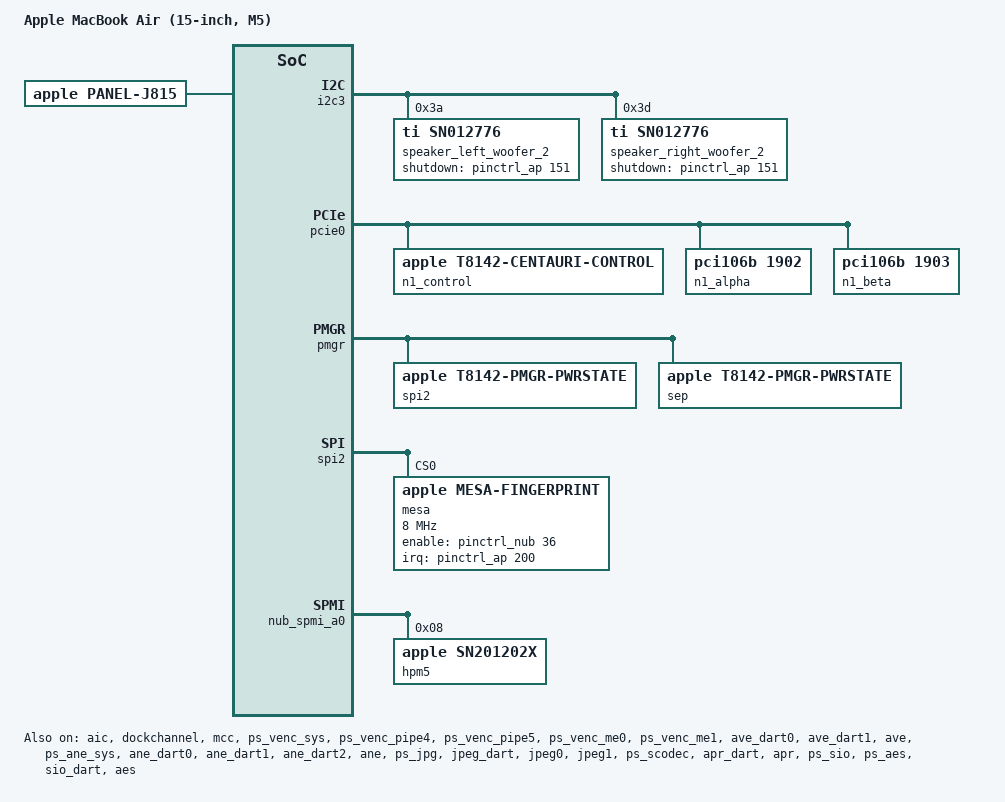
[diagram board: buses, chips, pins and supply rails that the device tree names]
// SPDX-License-Identifier: GPL-2.0+ OR MIT
/*
 * Apple MacBook Air (15-inch, M5), J815.
 *
 * J815 is the 15-inch sibling of J813 on the same T8142 die. It uses the
 * J813 board fragments and overrides what the J815 ADT shows to be
 * different:
 *
 *  - /chosen board-id 0x26 (J813: 0x24)
 *  - 15.3" 2880x1864 panel (2880x1800 below the notch), 326 x 211 mm
 *  - six SN012776 speaker amplifiers on i2c3 (0x38-0x3d: two tweeters and
 *    four force-cancelling woofers); J813 has four
 *  - ISP sensor-type 0x72 (J813: 0x71)
 *  - MTP hid-merge-personality C1FD3,3 (J813: C1FD1,4)
 *
 * The rest of the J813/J815 ADT difference is firmware selection (AOP
 * j815aop, acoustic-id 0x2b), ADMAC speaker channel counts and higher
 * CLPC package power limits.
 */
/dts-v1/;

#include "t8142.dtsi"
#include <dt-bindings/thermal/thermal.h>

/ {
	compatible = "apple,j815", "apple,t8142", "apple,arm-platform";
	model = "Apple MacBook Air (15-inch, M5)";
	chassis-type = "laptop";

	aliases {
		serial0 = &dockchannel;
		serial1 = &serial0;
	};

	chosen {
		#address-cells = <2>;
		#size-cells = <2>;
		ranges;

		stdout-path = "serial0:1500000n8";

		framebuffer0: framebuffer@0 {
			compatible = "apple,simple-framebuffer", "simple-framebuffer";
			reg = <0 0 0 0>; /* Filled by the loader. */
			status = "disabled";
		};
	};

	/*
	 * The J815 has no fan. One zone on the hottest SoC die reading (the 26
	 * apple,soc-die-keys below) slows the CPU clusters as the die heats,
	 * with the power allocator and the clusters' energy model.
	 *
	 * Sustainable power is an estimate to be tuned by a soak: the J815
	 * ADT's clpc pkg-sustainable-power-target is 12.5 W (0xc8000, 16.16),
	 * the J700's 5.5 W, where macOS holds the J700 CPUs at 4.1-4.3 W
	 * (about 76%, the J700 zones' 4200). The same share of 12.5 W gives
	 * the 9000 mW here. The control point is held below the 105 C the
	 * fanless J700 runs at, until a J815 soak under macOS gives its own
	 * value; the PMP and SMC still enforce the hardware limits.
	 */
	thermal-zones {
		soc-die-thermal {
			polling-delay-passive = <500>;
			polling-delay = <1000>;
			thermal-sensors = <&smc_hwmon 1000>;
			sustainable-power = <9000>;

			trips {
				soc_die_alert: trip-alert {
					temperature = <60000>;
					hysteresis = <2000>;
					type = "passive";
				};

				soc_die_control: trip-control {
					temperature = <100000>;
					hysteresis = <2000>;
					type = "passive";
				};

				trip-critical {
					temperature = <115000>;
					hysteresis = <0>;
					type = "critical";
				};
			};

			cooling-maps {
				map-p {
					trip = <&soc_die_control>;
					cooling-device =
						<&cpu6 THERMAL_NO_LIMIT THERMAL_NO_LIMIT>,
						<&cpu7 THERMAL_NO_LIMIT THERMAL_NO_LIMIT>,
						<&cpu8 THERMAL_NO_LIMIT THERMAL_NO_LIMIT>,
						<&cpu9 THERMAL_NO_LIMIT THERMAL_NO_LIMIT>;
					contribution = <1024>;
				};

				map-e {
					trip = <&soc_die_control>;
					cooling-device =
						<&cpu0 THERMAL_NO_LIMIT THERMAL_NO_LIMIT>,
						<&cpu1 THERMAL_NO_LIMIT THERMAL_NO_LIMIT>,
						<&cpu2 THERMAL_NO_LIMIT THERMAL_NO_LIMIT>,
						<&cpu3 THERMAL_NO_LIMIT THERMAL_NO_LIMIT>,
						<&cpu4 THERMAL_NO_LIMIT THERMAL_NO_LIMIT>,
						<&cpu5 THERMAL_NO_LIMIT THERMAL_NO_LIMIT>;
					contribution = <3072>;
				};
			};
		};
	};
};

&cpu0 {
	#cooling-cells = <2>;
	operating-points-v2 = <&ecluster_opp>;
	performance-domains = <&cpufreq_e>;
	status = "okay";
};

&cpu1 {
	#cooling-cells = <2>;
	operating-points-v2 = <&ecluster_opp>;
	performance-domains = <&cpufreq_e>;
	status = "okay";
};

&cpu2 {
	#cooling-cells = <2>;
	operating-points-v2 = <&ecluster_opp>;
	performance-domains = <&cpufreq_e>;
	status = "okay";
};

&cpu3 {
	#cooling-cells = <2>;
	operating-points-v2 = <&ecluster_opp>;
	performance-domains = <&cpufreq_e>;
	status = "okay";
};

&cpu4 {
	#cooling-cells = <2>;
	operating-points-v2 = <&ecluster_opp>;
	performance-domains = <&cpufreq_e>;
	status = "okay";
};

&cpu5 {
	#cooling-cells = <2>;
	operating-points-v2 = <&ecluster_opp>;
	performance-domains = <&cpufreq_e>;
	status = "okay";
};

&cpu6 {
	#cooling-cells = <2>;
	operating-points-v2 = <&pcluster_opp>;
	performance-domains = <&cpufreq_p>;
	status = "okay";
};

&cpu7 {
	#cooling-cells = <2>;
	operating-points-v2 = <&pcluster_opp>;
	performance-domains = <&cpufreq_p>;
	status = "okay";
};

&cpu8 {
	#cooling-cells = <2>;
	operating-points-v2 = <&pcluster_opp>;
	performance-domains = <&cpufreq_p>;
	status = "okay";
};

&cpu9 {
	#cooling-cells = <2>;
	operating-points-v2 = <&pcluster_opp>;
	performance-domains = <&cpufreq_p>;
	status = "okay";
};

&{/timer} {
	status = "okay";
};

&aic {
	status = "okay";
};

&cpu_pmu {
	status = "okay";
};

&dockchannel {
	status = "okay";
};

#include "t8142-j813-display.dtsi"
#include "t8142-j813-gpu.dtsi"
#include "t8142-j813-peripherals.dtsi"
#include "t8142-j813-j815.dtsi"
#include "t8142-j813-usb.dtsi"
#include "t8142-j813-dcpext.dtsi"
/* DisplayPort audio of the two external displays (J813: identical ADT, not tested there yet). */
#include "t8142-j813-dpaudio.dtsi"
#include "t8142-j813-avd.dtsi"
#include "t8142-j813-isp.dtsi"
#include "t8142-j813-n1.dtsi"
#include "t8142-j813-audio.dtsi"

&mtp_hid {
	multi-touch {
		/* ADT hid-merge-personality C1FD3,3 (J813: C1FD1,4). */
		firmware-name = "apple/tpmtfw-j815.bin";
	};
};

&pmp {
	/* ADT /chosen board-id (J815) */
	apple,board-id = <38>;
};

&panel {
	compatible = "apple,panel-j815", "apple,panel";
	width-mm = <326>;
	height-mm = <211>;
	adj-height-mm = <204>;
};

&isp {
	/* J815 ADT /arm-io/isp sensor-type */
	apple,platform-id = <0x72>;
};

&aop_audio {
	/* The microphone card's name: AppleJ815HPAI. */
	apple,chassis-name = "J815";
	/* ADT iop-audio-controller/audio-speaker: 6 slots, 12 sense words. */
	apple,speaker-amps = <6>;
};

/*
 * Ambient light sensor, the AOP's "als" service: an ST VD6286, as on the
 * M4 Pro, not T8140's CT817. aop_als sends it the per-device calibration
 * (apple/aop-als-cal.bin) as its calibration property. There is no
 * firmware-name: that names the CT817 setup-port message, which this sensor
 * does not take.
 */
&aop {
	aop_als: als {
		compatible = "apple,t8142-aop-als", "apple,aop-als";
	};

	/*
	 * Lid angle: the J815 AOP firmware announces a "las" service, which
	 * macOS 27.2 on this machine binds as an AppleSPUHIDDevice (usage page
	 * 0x20, usage 0x8a), as on T6050. The ADT's i2c1 "mogul-las" is the
	 * sensor's authentication chip, not the angle.
	 */
	aop_las: las {
		compatible = "apple,t8142-aop-las", "apple,aop-las";
	};

	/*
	 * The inertial sensor: ADT iop-aop-nub accel and gyro. The boot loader
	 * copies their calibration from the ADT into these nodes; without it
	 * the services stay off. devmotion6 gets a device only if the firmware
	 * announces it.
	 */
	aop_accel: accel {
		compatible = "apple,t8142-aop-accel", "apple,aop-accel";
	};

	aop_gyro: gyro {
		compatible = "apple,t8142-aop-gyro", "apple,aop-gyro";
	};

	aop_devmotion: devmotion6 {
		compatible = "apple,t8142-aop-devmotion6", "apple,aop-devmotion6";
	};
};

/* Names as in speakersafetyd's j815.conf; slots from ADT speaker-config. */
&speaker_left_woofer {
	sound-name-prefix = "Left Woofer 1";
};

&speaker_right_woofer {
	sound-name-prefix = "Right Woofer 1";
};

&i2c3 {
	speaker_left_woofer_2: codec@3a {
		compatible = "ti,sn012776", "ti,tas2764";
		reg = <0x3a>;
		shutdown-gpios = <&pinctrl_ap 151 GPIO_ACTIVE_HIGH>;
		#sound-dai-cells = <0>;
		sound-name-prefix = "Left Woofer 2";
		ti,imon-slot-no = <18>;
		ti,vmon-slot-no = <16>;
		ti,bclk-ratio = <250>;
	};

	speaker_right_woofer_2: codec@3d {
		compatible = "ti,sn012776", "ti,tas2764";
		reg = <0x3d>;
		shutdown-gpios = <&pinctrl_ap 151 GPIO_ACTIVE_HIGH>;
		#sound-dai-cells = <0>;
		sound-name-prefix = "Right Woofer 2";
		ti,imon-slot-no = <22>;
		ti,vmon-slot-no = <20>;
		ti,bclk-ratio = <250>;
	};
};

/ {
	sound {
		compatible = "apple,j815-macaudio", "apple,macaudio";
		model = "MacBook Air J815";

		dai-link@1 {
			/*
			 * ADT speaker-config order: macaudio gives codec k playback
			 * slot k (left in 0, 2, 4; right in 1, 3, 5) as macOS does.
			 * The TX idle masks are J813's: J815's amp-tx-zd-config has
			 * the same words (left amps drive slots 0-3, 8-11, 16-19 on
			 * line 0, right amps 4-7, 12-15, 20-23 on line 1).
			 */
			codec {
				sound-dai = <&speaker_left_woofer>, <&speaker_right_woofer>,
					    <&speaker_left_tweeter>, <&speaker_right_tweeter>,
					    <&speaker_left_woofer_2>, <&speaker_right_woofer_2>;
			};
		};
	};
};

/*
 * N1 functions behind apcie port 0 (0000:00:00.0 -> 01:00.{0,1,2}), so the
 * loader has somewhere to put the factory addresses: it copies ADT /chosen
 * mac-address-wifi0 and mac-address-bluetooth0 into the wifi0/bluetooth0
 * alias targets, as on T6050 (t6050-j716s.dts).
 */
/ {
	aliases {
		wifi0 = &n1_alpha;
		bluetooth0 = &n1_beta;
		/*
		 * The loader finds the SEP through this alias: it reserves SEPFW
		 * and copies the boot's local-policy and iBoot manifests onto
		 * the node.
		 */
		sep = &sep;
	};
};

&pcie0 {
	n1_port: pci@0,0 {
		device_type = "pci";
		reg = <0x0 0x0 0x0 0x0 0x0>;
		bus-range = <1 1>;
		#address-cells = <3>;
		#size-cells = <2>;
		ranges;

		n1_control: control@0,0 {
			compatible = "apple,t8142-centauri-control", "pci106b,1900";
			reg = <0x10000 0x0 0x0 0x0 0x0>;
		};

		n1_alpha: wifi@0,1 {
			compatible = "pci106b,1902";
			reg = <0x10100 0x0 0x0 0x0 0x0>;
			/* Filled by the loader */
			local-mac-address = [00 00 00 00 00 00];
		};

		n1_beta: bluetooth@0,2 {
			compatible = "pci106b,1903";
			reg = <0x10200 0x0 0x0 0x0 0x0>;
			/* Filled by the loader */
			local-bd-address = [00 00 00 00 00 00];
		};
	};
};

/*
 * SMC sensors beyond the discovered temperatures. Only non-temperature nodes
 * may be added here: a temperature-* node would stop
 * apple,discover-temperatures. Keys the SMC lacks are skipped at probe. The
 * die key list is J704's (same T8142): the listed keys form the SoC die
 * thermal zone.
 */
&smc {
	smc_hwmon: hwmon {
		/* Sensor 1000 is the hottest of the die keys (soc-die-thermal). */
		#thermal-sensor-cells = <1>;
		apple,soc-die-keys = "Te04", "Te08", "Te0C", "Te0R",
				     "Tp00", "Tp04", "Tp0C", "Tp0G", "Tp0O",
				     "Tp0R", "Tp0X", "Tp0a", "Tp0p", "Tp0u",
				     "Tp0y", "Tp12", "Tp16", "Tp1E",
				     "Tg0U", "Tg0X", "Tg0d", "Tg0g", "Tg0j",
				     "Tg1Y", "Tg1c", "Tg1g";
		apple,thermal-pressure-key = "mTPL";

		power-PSTR {
			apple,key-id = "PSTR";
			label = "Total System Power";
		};

		power-PDTR {
			apple,key-id = "PDTR";
			label = "AC Input Power";
		};

		power-PMVR {
			apple,key-id = "PMVR";
			label = "3.8 V Rail Power";
		};

		voltage-VD0R {
			apple,key-id = "VD0R";
			label = "AC Input Voltage";
		};

		voltage-SBAV {
			apple,key-id = "SBAV";
			label = "Battery Voltage";
		};

		current-ID0R {
			apple,key-id = "ID0R";
			label = "AC Input Current";
		};
	};
};

/*
 * Secure Enclave and the Touch ID sensor. All values are from the J815 ADT
 * (macOS 27.0):
 *  - sep: iop-sep,ascwrap-v6 at 0x30a600000 (0x88000), pre-booted by iBoot
 *    (sepfw-booted), so apple_sep warm-attaches; its mailbox is the ASC
 *    mailbox at +0x8000, AIC 445-448 (ADT order 446,445,448,447 as on the
 *    AOP: send-empty..recv-not-empty ascending).
 *  - dart-sep: t8110 at 0x308b80000, irq 455; input aperture vm-base-0
 *    0x10000004000 + vm-size-0 0xffff0000 (the BIT(40) alias, as T8132).
 *  - spi2 at 0x3a5108000, irq 0x4d9; PMGR device SPI2 at +0x440, parent
 *    SPI_P (id 94).
 *  - mesa: "biosensor,mesa", sensor-id V3, 8 MHz, CS0; power
 *    function-mesa_pwr = NUB GPIO pin 36; data-ready interrupt on AP
 *    GPIO pin 200.
 * The SEP and its DART stay disabled here: apple_sep enables them at module
 * init (drivers/soc/apple/dt.rs).
 */
&pmgr {
	ps_spi2: power-controller@440 {
		compatible = "apple,t8142-pmgr-pwrstate", "apple,t8103-pmgr-pwrstate";
		reg = <0x440 4>;
		#power-domain-cells = <0>;
		#reset-cells = <0>;
		power-domains = <&ps_spi_p>;
		label = "spi2";
	};
};

&{/soc} {
	sep: sep@30a600000 {
		compatible = "apple,sep";
		reg = <0x3 0x0a600000 0x0 0x88000>;
		mboxes = <&sep_mbox>;
		mbox-names = "mbox";
		iommus = <&sep_dart 0>;
		status = "disabled";
	};

	sep_mbox: mbox@30a608000 {
		compatible = "apple,t8142-asc-mailbox", "apple,asc-mailbox-v4";
		reg = <0x3 0x0a608000 0x0 0x4000>;
		interrupt-parent = <&aic>;
		interrupts = <AIC_IRQ 445 IRQ_TYPE_LEVEL_HIGH>,
			     <AIC_IRQ 446 IRQ_TYPE_LEVEL_HIGH>,
			     <AIC_IRQ 447 IRQ_TYPE_LEVEL_HIGH>,
			     <AIC_IRQ 448 IRQ_TYPE_LEVEL_HIGH>;
		interrupt-names = "send-empty", "send-not-empty",
				  "recv-empty", "recv-not-empty";
		#mbox-cells = <0>;
		status = "okay";
	};

	spi2: spi@3a5108000 {
		compatible = "apple,t8142-spi", "apple,t8103-spi";
		reg = <0x3 0xa5108000 0x0 0x4000>;
		interrupt-parent = <&aic>;
		interrupts = <AIC_IRQ 1241 IRQ_TYPE_LEVEL_HIGH>;
		clocks = <&clkref>;
		power-domains = <&ps_spi2>;
		#address-cells = <1>;
		#size-cells = <0>;
		status = "okay";

		mesa: fingerprint@0 {
			compatible = "apple,mesa-fingerprint";
			reg = <0>;
			spi-max-frequency = <8000000>;
			spi-cpol;
			spi-cs-setup-delay-ns = <20>;
			spi-cs-hold-delay-ns = <20>;
			enable-gpios = <&pinctrl_nub 36 GPIO_ACTIVE_HIGH>;
			interrupt-parent = <&pinctrl_ap>;
			interrupts = <200 IRQ_TYPE_EDGE_RISING>;
			/* Per-device files, built from the Mac's own factory records. */
			firmware-name = "apple/mesacal-j815.bin", "apple/msrk-j815.bin";
			status = "okay";
		};
	};
};

&sep_dart {
	apple,dma-range = /bits/ 64 <0x10000004000 0xffff0000>;
	apple,dma-offset = /bits/ 64 <0x0>;
};

/* Expose the sensor's two pins next to the ones sound uses. */
&pinctrl_ap {
	gpio-reserved-ranges = <0 100>, <101 49>, <152 48>, <201 23>;
};

&pinctrl_nub {
	gpio-reserved-ranges = <0 18>, <19 17>, <37 3>;
};

/* aura (mcc_init_m5) turns the system level cache on; the driver confirms it and flushes on shutdown. */
&mcc {
	status = "okay";
};

/*
 * Video encoder: ADT ave behind dart-ave (DART + CPUDART). aura hands over the
 * preloaded 26A428 firmware (memory regions, CRCs in /chosen) or disables the
 * node when the ADT has no preload.
 */
&ps_venc_sys {
	status = "okay";
};

&ps_venc_dma {
	status = "okay";
};

&ps_venc_pipe4 {
	status = "okay";
};

&ps_venc_pipe5 {
	status = "okay";
};

&ps_venc_me0 {
	status = "okay";
};

&ps_venc_me1 {
	status = "okay";
};

&ave_dart0 {
	status = "okay";
};

&ave_dart1 {
	status = "okay";
};

&ave {
	status = "okay";
};

/*
 * The Neural Engine. It stays off until the first request: the firmware is
 * started then, from the preload, and system sleep cycles it cold.
 */
&ps_ane_sys {
	status = "okay";
};

&ane_dart0 {
	status = "okay";
};

&ane_dart1 {
	status = "okay";
};

&ane_dart2 {
	status = "okay";
};

&ane {
	status = "okay";
};

/* Both JPEG engines and their DART. */
&ps_jpg {
	status = "okay";
};

&jpeg_dart {
	status = "okay";
};

&jpeg0 {
	status = "okay";
};

&jpeg1 {
	status = "okay";
};

/* The ProRes encoder; it probes only with the Mac's own apple/prores-t8142-init.bin. */
&ps_scodec {
	status = "okay";
};

&apr_dart {
	status = "okay";
};

&apr {
	status = "okay";
};

/*
 * SIO AES engine, software keys only. It registers below the CPU's aes-ce, so
 * it is used only when asked for by driver name.
 */
&ps_sio {
	status = "okay";
};

&ps_aes {
	status = "okay";
};

&sio_dart {
	status = "okay";
};

&aes {
	status = "okay";
};

/*
 * The MagSafe 3 port's PD controller: ADT hpm5 on nub-spmi-a0, SID 8, port-type
 * 0x11. It has no USB data path, so it gets no connector node; tipd registers a
 * Type-C port and a power supply for it, as on J714s. The bus is polled on
 * T8142, so like hpm0 and hpm1 it has no interrupts. Its ADT features-supported
 * is <3>, "Power In" only: no liquid detection.
 */
&nub_spmi_a0 {
	hpm5: usb-pd@8 {
		compatible = "apple,sn201202x";
		reg = <0x8 SPMI_USID>;
		apple,no-liquid-detection;
	};
};

/*
 * The DCP DART's PS write-disable bit, which T8142 has instead of T8140's GAPF slice. Live ADT
 * dart-dcp: clock-protection-wr-dis-id <0x1f 0xff>, PSWR instance 0 = reg[1] 0x380714000.
 * /chosen/dart-ps-wr-dis-entries[0x1f] = {offset 0x3fdc, instance 0, bit 6, refcount 1}, and
 * the T8142 SPTM (27.2.1) sets that bit on the 0->1 refcount and clears it on 1->0 at the
 * DART's power-down, where T8140's clears GAPF bit 4. Set, the fabric rejects writes to
 * DISP_CPU's power word: the DART driver clears it once the DCP is stopped and sets it again
 * after. Only a DCP firmware stop uses it. Never run on an M5.
 */
&dcp_dart {
	reg = <0x2 0x86340000 0x0 0x20000>,
	      <0x3 0x80717fdc 0x0 0x4>;
	reg-names = "dart", "ps-wr-dis";
	apple,ps-wr-dis-bit = <6>;
};

/*
 * Suspend-to-RAM (apple,t8142-sleep): derived from macOS 27.2.1 and T8132's measurements, and
 * dry-run gated in the driver (apple_sleep.deep, apple_sleep.untested_commit).
 */
&pmgr {
	/*
	 * SEP (J815 ADT, PMGR +0xc00). Never switched by Linux: named so the enclave's sleep
	 * request (pm_shim) and the deep sleep's last refusal can read its state, as on J713.
	 */
	ps_sep: power-controller@c00 {
		compatible = "apple,t8142-pmgr-pwrstate", "apple,t8103-pmgr-pwrstate";
		reg = <0xc00 4>;
		#power-domain-cells = <0>;
		#reset-cells = <0>;
		label = "sep";
		apple,always-on;
		apple,firmware-owned;
	};
};

/* For the enclave's sleep request; the domain is firmware-owned. */
&sep {
	power-domains = <&ps_sep>;
};

&{/soc} {
	/*
	 * The CPU cores' power-gate enables, /arm-io/pmgr reg[34] (0x380724000): one word per
	 * core at a 0x10 stride, E cores 0..5 at +0x0..+0x50, P cores at +0x60... iBoot leaves
	 * the boot core's (P core 0, +0x60) clear (probe snapshot: 0), so the boot core never
	 * powers off in WFI, the P complex stays BUSY at the commit and WD2 resets (b44-b46).
	 * AppleT8142PMGR's restoreHW sets exactly +0x0 and +0x60, T8132 (J713) enables the
	 * same two words at boot, T6050 measured the same failure with core 0's word clear.
	 */
	cluster_pwrgate: power-gate@380724000 {
		compatible = "apple,t8142-cluster-pwrgate", "apple,cluster-pwrgate";
		reg = <0x3 0x80724000 0x0 0x4>,
		      <0x3 0x80724060 0x0 0x4>;
	};

	/*
	 * Suspend-to-RAM. The blocks are T8132's, at the same J815 ADT indices: /arm-io/pmgr
	 * reg[32] (ps), [34] (pwrgate), [42] (cpu-start), [45] (cllt; EARLY_WAKEUP_CFG at
	 * +0x50), [36] (cluster), [40] + 0x4000 (commit), [38] (aon-misc), [4] (wake: nine mask
	 * and nine status words), [1] (ps-aon), /arm-io/wdt, nub-spmi0, nub-spmi-a0, the
	 * PMC's voter floors (as &pmc), and the SoC and DCS perf-state words that
	 * AppleT8142PMGR::setPerfState writes (reg[2] + 0x24000, + 0x25000).
	 * Derived from macOS 27.2.1 and T8132's measurements, never run on an M5: the driver
	 * stops each sleep at a dry run unless booted with apple_sleep.untested_commit=1,
	 * and deep sleep is only used when asked for (mem_sleep).
	 */
	sleep: sleep-controller@380700000 {
		compatible = "apple,t8142-sleep";
		reg = <0x3 0x80700000 0x0 0x18000>,
		      <0x3 0x80724000 0x0 0x2000>,
		      <0x3 0x80734000 0x0 0x10>,
		      <0x3 0x80768000 0x0 0x54>,
		      <0x3 0x80780000 0x0 0x8>,
		      <0x3 0x882d4000 0x0 0x4>,
		      <0x3 0x882b0000 0x0 0x30>,
		      <0x3 0x882b8000 0x0 0x44>,
		      <0x3 0x88004000 0x0 0x50>,
		      /* SPMI gen 4: queue at +0x200..0x220, notify enable/ack +0x420/+0x620 */
		      <0x3 0x88714000 0x0 0x1000>,
		      <0x3 0x88280000 0x0 0x10000>,
		      /* nub-spmi-a0's notify enable word (gen 4: +0x420; gen 1 had +0x40) */
		      <0x3 0x88908420 0x0 0x4>,
		      <0x3 0x82700000 0x0 0x10000>,
		      <0x3 0x80024000 0x0 0x4>,
		      <0x3 0x80025000 0x0 0x4>,
		      /*
		       * Each complex's ACC word 0x40f8 (ADT pmgr reg[7] E, reg[18] P, + 0x40f8),
		       * which AppleT8142PMGR sets to 1 after the complex powers on and at the
		       * end of restoreHW.
		       */
		      <0x2 0x10e440f8 0x0 0x4>,
		      <0x2 0x11e440f8 0x0 0x4>;
		reg-names = "ps", "pwrgate", "cpu-start", "cllt", "cluster",
			    "commit", "wdt", "aon-misc", "wake", "spmi",
			    "ps-aon", "spmi-a0", "pmc-voters", "clk-perf", "dcs",
			    "acc-e", "acc-p";
		/*
		 * From the J815 ADT's /arm-io/pmgr ap-wake-sources, the same sources
		 * as T8132's by name: NUB.SPMI0.SW3, ATC0.USBWakeup, SMC.CPUWakeupAP,
		 * SMC.OutboxNotEmpty, MTP.DOCK.CHANNELS.AP0.IRQ and MTP.OutboxNotEmpty.
		 */
		apple,wake-enable = <152 72 168 190 89 108>;
		apple,display-coprocessors = <&dcp>;
		/* ANS's link's shared block, and the radio's link, which only aura trains */
		apple,apcie = <&apcie_shared>;
		apple,radio-host = <&pcie0>;
		/* ADT pci-bridge0 function-perst: AP GPIO 192 */
		apple,radio-perst = <&pinctrl_ap 192 GPIO_ACTIVE_LOW>;
		apple,pinctrl = <&pinctrl_ap>;
		/* The ADT's no-restore-gpio-pins: reading pin 78 raises an SError. */
		apple,pinctrl-skip-pins = <78 203>;
	};

	/*
	 * The internal display's power words for a DCP firmware stop (drm/apple dcp_s2r_*),
	 * written only with appledrm.s2r_untested=1: /arm-io/pmgr reg[34] (pwrgate: DISP_CPU's
	 * retention words 0x11cc and 0x11f0, the pmgr's retention_config_ff/_mem) and reg[32]
	 * (ps: DISP_CPU 0x10000, DISP_FE 0x318, DISP_SYS 0x290). T8142's PMC has no count of
	 * powered DCPs, so no pmc-dcp. Derived from macOS 27.2.1, never run.
	 */
	/*
	 * ANS's side of the shared PCIe block, which the sleep controller brings back after a
	 * real sleep in AppleT8142PCIe's order (as aura's j813_n1.c at boot): ADT /arm-io/apcie
	 * reg[1] (rc), [2] (phy-block; its PHY-PHY control words are reg[3], 0x20000 in), [4]
	 * (phy-ip) and [5] (axi2af, as far as its tables reach). Then the radio's port 0, which
	 * it trains again after the wake: reg[8] (radio-port), [10] (radio-lane) and the root
	 * port's configuration space (radio-cfg, the ECAM's first 4 KiB). reg[6] (clkgen, the
	 * pcieclkgen whose PLLs APCIECoreRCGen4 shuts down before the power goes; AppleT8142PCIe
	 * maps reg[7] as its AUS5 AON top, unused here). aura copies the ADT's
	 * apcie-{axi2af,phy,phy-ip-pll,phy-ip-auspma}-tunables and pci-bridge0's
	 * apcie-config-tunables and pcie-rc{,-gen3-shadow,-gen4-shadow}-tunables here. No
	 * driver binds it.
	 */
	apcie_shared: pcie-shared@48c000000 {
		reg = <0x4 0x8c000000 0x0 0x4000>,
		      <0x4 0x8f000000 0x0 0x40000>,
		      <0x4 0x8f040000 0x0 0x20000>,
		      <0x4 0x8e000000 0x0 0x24000>,
		      <0x4 0x88028000 0x0 0x8000>,
		      <0x4 0x8f010000 0x0 0x4000>,
		      <0x1c 0xb0000000 0x0 0x1000>,
		      <0x4 0x8d044000 0x0 0x4000>;
		reg-names = "rc", "phy-block", "phy-ip", "axi2af",
			    "radio-port", "radio-lane", "radio-cfg", "clkgen";
	};

	dcp_power: display-power@380724000 {
		compatible = "apple,t8142-display-power";
		reg = <0x3 0x80724000 0x0 0x2000>,
		      <0x3 0x80700000 0x0 0x14000>;
		reg-names = "pwrgate", "ps";
	};
};

&dcp {
	apple,display-power = <&dcp_power>;
};
